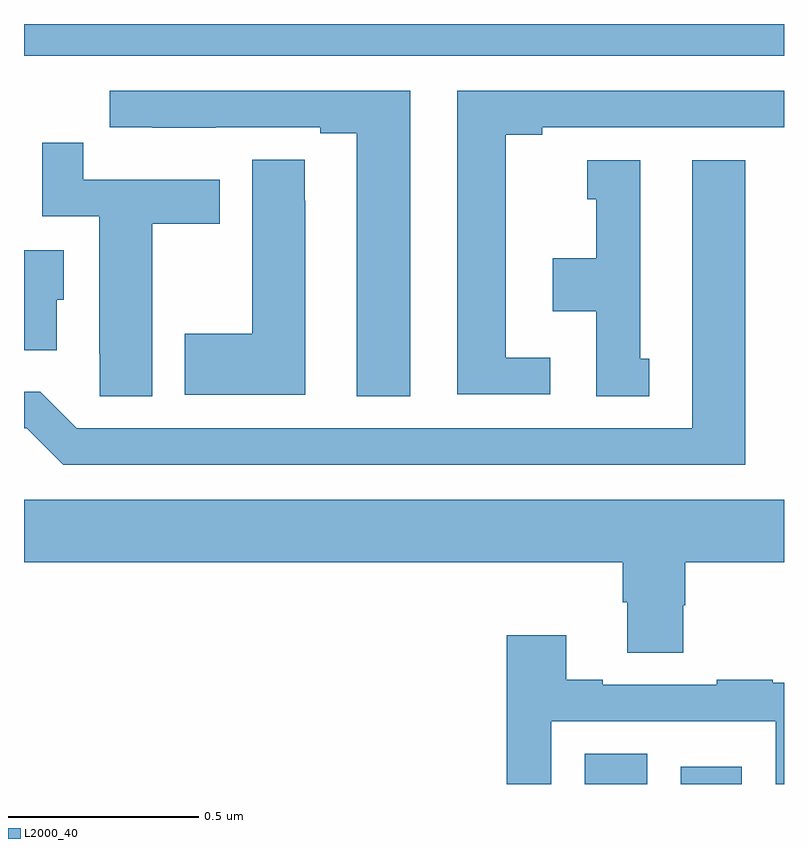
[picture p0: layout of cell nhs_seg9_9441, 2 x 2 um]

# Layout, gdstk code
import gdstk
lib = gdstk.Library(unit=1e-6, precision=1e-09)
def R(c, l, rs):  # rectangles x0, y0, x1, y1
    for r in rs: c.add(gdstk.rectangle(r[:2], r[2:], *l))
def P(c, l, *ps):  # polygons
    for p in ps: c.add(gdstk.Polygon(p, *l))
L2000_40 = (2000, 40)

nhs_seg9_9441 = lib.new_cell('nhs_seg9_9441')
R(nhs_seg9_9441, L2000_40, [(231.476,1198.5,231.64,1198.58), (231.728,1198.5,231.889,1198.546), (230,1200.416,232,1200.5)])
P(nhs_seg9_9441, L2000_40, [(231.385,1199.622),(231.268,1199.622),(231.268,1200.208),(231.364,1200.208),(231.364,1200.228),(232,1200.228),(232,1200.324),(231.14,1200.324),(231.14,1199.526),(231.385,1199.526)],
  [(231.016,1200.324),(230.226,1200.324),(230.226,1200.228),(230.338,1200.228),(230.338,1200.227),(230.504,1200.227),(230.504,1200.228),(230.78,1200.228),(230.78,1200.213),(230.876,1200.213),(230.876,1199.521),(231.016,1199.521)],
  [(230.338,1199.974),(230.515,1199.974),(230.515,1200.09),(230.156,1200.09),(230.156,1200.187),(230.048,1200.187),(230.048,1199.994),(230.198,1199.994),(230.198,1199.632),(230.199,1199.632),(230.199,1199.521),(230.338,1199.521)],
  [(230.74,1200.035),(230.739,1200.035),(230.739,1200.143),(230.6,1200.143),(230.6,1199.685),(230.423,1199.685),(230.423,1199.525),(230.74,1199.525)],
  [(231.898,1200.142),(231.758,1200.142),(231.758,1199.436),(230.139,1199.436),(230.043,1199.532),(230,1199.532),(230,1199.436),(230.007,1199.436),(230.103,1199.34),(231.898,1199.34)],
  [(231.646,1199.619),(231.622,1199.619),(231.622,1200.142),(231.482,1200.142),(231.482,1200.039),(231.506,1200.039),(231.506,1199.884),(231.392,1199.884),(231.392,1199.744),(231.506,1199.744),(231.506,1199.521),(231.646,1199.521)],
  [(230.086,1199.775),(230.104,1199.775),(230.104,1199.905),(230,1199.905),(230,1199.642),(230.086,1199.642)],
  [(231.735,1198.971),(231.74,1198.971),(231.74,1199.084),(232,1199.084),(232,1199.248),(230,1199.248),(230,1199.084),(231.575,1199.084),(231.575,1198.978),(231.587,1198.978),(231.587,1198.846),(231.735,1198.846)],
  [(231.387,1198.665),(231.978,1198.665),(231.978,1198.5),(232,1198.5),(232,1198.767),(231.971,1198.767),(231.971,1198.774),(231.823,1198.774),(231.823,1198.761),(231.523,1198.761),(231.523,1198.774),(231.427,1198.774),(231.427,1198.891),(231.271,1198.891),(231.271,1198.5),(231.387,1198.5)])

lib.write_gds('nhs_seg9_9441.gds')
